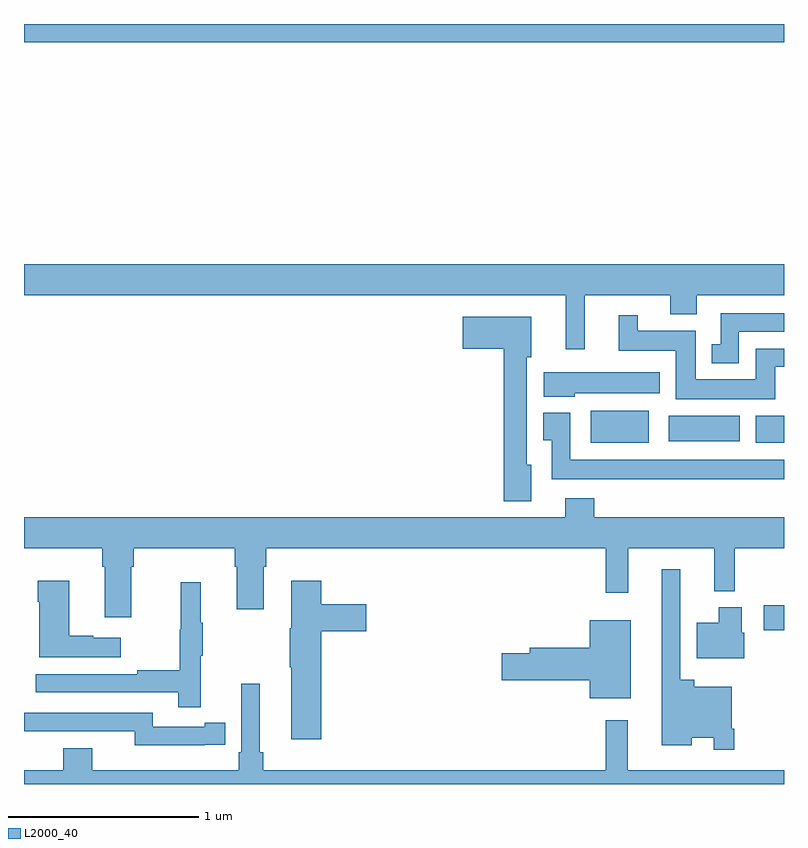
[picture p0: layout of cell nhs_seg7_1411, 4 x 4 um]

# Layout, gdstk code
import gdstk
lib = gdstk.Library(unit=1e-6, precision=1e-09)
def R(c, l, rs):  # rectangles x0, y0, x1, y1
    for r in rs: c.add(gdstk.rectangle(r[:2], r[2:], *l))
def P(c, l, *ps):  # polygons
    for p in ps: c.add(gdstk.Polygon(p, *l))
L2000_40 = (2000, 40)

nhs_seg7_1411 = lib.new_cell('nhs_seg7_1411')
R(nhs_seg7_1411, L2000_40, [(210.894,1042.808,211,1042.942), (209.984,1043.795,210.289,1043.965), (210.851,1043.795,211,1043.938), (210.393,1043.804,210.766,1043.938), (207,1045.904,211,1046)])
P(nhs_seg7_1411, L2000_40, [(209.951,1044.572),(210.401,1044.572),(210.401,1044.473),(210.541,1044.473),(210.541,1044.572),(211,1044.572),(211,1044.736),(207,1044.736),(207,1044.572),(209.852,1044.572),(209.852,1044.288),(209.951,1044.288)],
  [(210.762,1044.381),(211,1044.381),(211,1044.477),(210.666,1044.477),(210.666,1044.315),(210.62,1044.315),(210.62,1044.215),(210.762,1044.215)],
  [(210.955,1044.195),(211,1044.195),(211,1044.291),(210.851,1044.291),(210.851,1044.13),(210.535,1044.13),(210.535,1044.385),(210.229,1044.385),(210.229,1044.466),(210.131,1044.466),(210.131,1044.281),(210.431,1044.281),(210.431,1044.026),(210.955,1044.026)],
  [(209.671,1043.679),(209.647,1043.679),(209.647,1044.246),(209.671,1044.246),(209.671,1044.46),(209.31,1044.46),(209.31,1044.29),(209.525,1044.29),(209.525,1043.489),(209.671,1043.489)],
  [(209.898,1044.056),(210.346,1044.056),(210.346,1044.166),(209.736,1044.166),(209.736,1044.038),(209.898,1044.038)],
  [(211,1043.707),(209.874,1043.707),(209.874,1043.953),(209.732,1043.953),(209.732,1043.809),(209.777,1043.809),(209.777,1043.603),(211,1043.603)],
  [(207.565,1043.144),(207.578,1043.144),(207.578,1043.24),(208.109,1043.24),(208.109,1043.144),(208.121,1043.144),(208.121,1042.92),(208.261,1042.92),(208.261,1043.144),(208.274,1043.144),(208.274,1043.24),(210.061,1043.24),(210.061,1043.007),(210.179,1043.007),(210.179,1043.24),(210.632,1043.24),(210.632,1043.015),(210.742,1043.015),(210.742,1043.24),(211,1043.24),(211,1043.404),(210.002,1043.404),(210.002,1043.503),(209.849,1043.503),(209.849,1043.404),(207,1043.404),(207,1043.24),(207.413,1043.24),(207.413,1043.144),(207.425,1043.144),(207.425,1042.878),(207.565,1042.878)],
  [(210.739,1042.291),(210.726,1042.291),(210.726,1042.513),(210.527,1042.513),(210.527,1042.549),(210.453,1042.549),(210.453,1043.131),(210.356,1043.131),(210.356,1042.205),(210.514,1042.205),(210.514,1042.244),(210.63,1042.244),(210.63,1042.179),(210.739,1042.179)],
  [(208.565,1042.805),(208.801,1042.805),(208.801,1042.947),(208.565,1042.947),(208.565,1043.071),(208.406,1043.071),(208.406,1042.821),(208.399,1042.821),(208.399,1042.615),(208.406,1042.615),(208.406,1042.236),(208.565,1042.236)],
  [(207.508,1042.771),(207.365,1042.771),(207.365,1042.781),(207.238,1042.781),(207.238,1043.071),(207.073,1043.071),(207.073,1042.958),(207.08,1042.958),(207.08,1042.667),(207.508,1042.667)],
  [(207.929,1042.675),(207.94,1042.675),(207.94,1042.849),(207.929,1042.849),(207.929,1043.062),(207.826,1043.062),(207.826,1042.812),(207.819,1042.812),(207.819,1042.598),(207.595,1042.598),(207.595,1042.578),(207.063,1042.578),(207.063,1042.482),(207.811,1042.482),(207.811,1042.404),(207.929,1042.404)],
  [(210.79,1042.797),(210.778,1042.797),(210.778,1042.93),(210.656,1042.93),(210.656,1042.849),(210.542,1042.849),(210.542,1042.661),(210.79,1042.661)],
  [(210.193,1042.861),(209.978,1042.861),(209.978,1042.718),(209.663,1042.718),(209.663,1042.688),(209.514,1042.688),(209.514,1042.546),(209.978,1042.546),(209.978,1042.451),(210.193,1042.451)],
  [(211,1042.072),(210.178,1042.072),(210.178,1042.336),(210.061,1042.336),(210.061,1042.072),(208.259,1042.072),(208.259,1042.168),(208.24,1042.168),(208.24,1042.528),(208.143,1042.528),(208.143,1042.168),(208.13,1042.168),(208.13,1042.072),(207.358,1042.072),(207.358,1042.189),(207.206,1042.189),(207.206,1042.072),(207,1042.072),(207,1042),(211,1042)],
  [(207.95,1042.206),(208.058,1042.206),(208.058,1042.322),(207.95,1042.322),(207.95,1042.302),(207.678,1042.302),(207.678,1042.374),(207,1042.374),(207,1042.277),(207.122,1042.277),(207.122,1042.278),(207.582,1042.278),(207.582,1042.205),(207.95,1042.205)])

lib.write_gds('nhs_seg7_1411.gds')
